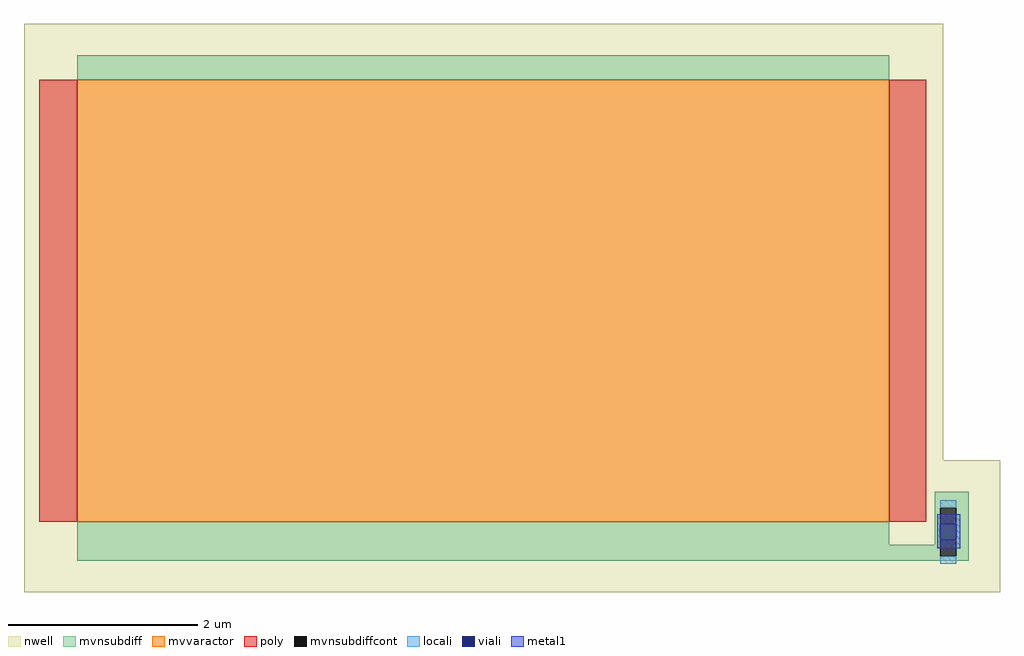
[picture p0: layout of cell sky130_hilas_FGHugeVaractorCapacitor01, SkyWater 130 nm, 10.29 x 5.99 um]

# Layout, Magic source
magic
tech sky130A
<< nwell >>
rect 0 139 969 599
rect 0 0 1029 139
<< mvvaractor >>
rect 56 74 912 540
<< mvnsubdiff >>
rect 56 540 912 566
rect 960 89 996 106
rect 56 50 912 74
rect 960 72 966 89
rect 983 72 996 89
rect 960 55 996 72
rect 960 50 966 55
rect 56 38 966 50
rect 983 38 996 55
rect 56 33 996 38
<< mvnsubdiffcont >>
rect 966 72 983 89
rect 966 38 983 55
<< poly >>
rect 16 74 56 540
rect 912 74 951 540
<< locali >>
rect 966 89 983 97
rect 966 30 983 38
<< viali >>
rect 966 55 983 72
<< metal1 >>
rect 963 72 987 82
rect 963 55 966 72
rect 983 55 987 72
rect 963 46 987 55
<< properties >>
string LEFsite unithd
string LEFclass CORE
string LEFsymmetry X Y R90
<< end >>
